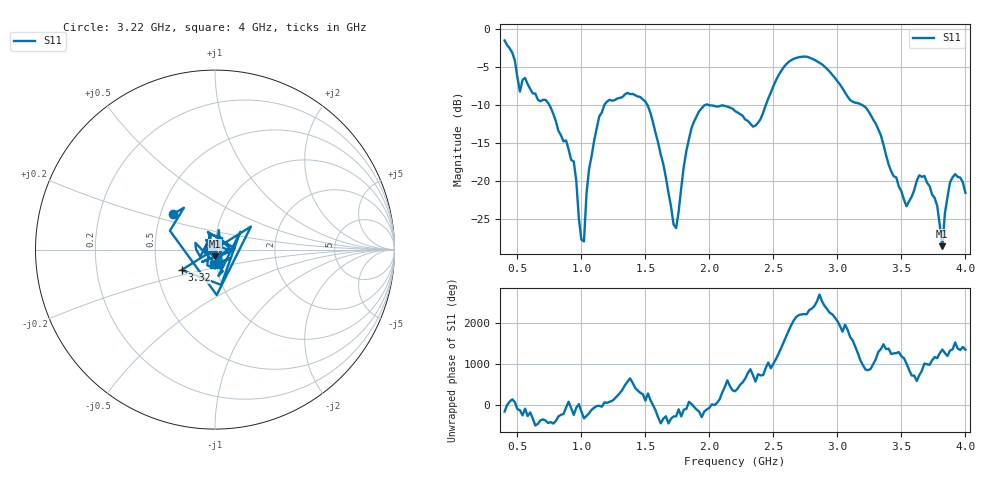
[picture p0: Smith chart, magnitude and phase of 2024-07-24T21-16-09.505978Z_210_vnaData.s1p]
!Created with skrf (http://scikit-rf.org).
# Hz S RI R 50.0
!freq ReS11 ImS11
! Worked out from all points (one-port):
!   181 points, 400 MHz to 4 GHz, reference 50 ohm
!   lowest |S11| = -28.7 dB at 3.82 GHz (marker M1), VSWR 1.08, Z = 49.7 - j3.68 ohm
!   |S11| at or under -10 dB: 1.515 GHz to 1.965 GHz (449.2 MHz wide, 25.8 % of centre); 1.995 GHz to 2.44 GHz (445.4 MHz wide, 20.1 % of centre); 3.193 GHz to end of sweep (the widest 3 of 4)
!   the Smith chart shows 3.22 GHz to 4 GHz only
!   S11 on the Smith chart (normalised r, x): 3.22 GHz: 0.58, +0.26; 3.32 GHz: 0.67, -0.16; 4 GHz: 0.97, -0.16
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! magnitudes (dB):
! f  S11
! 400 MHz  -1.5
! 520 MHz  -8.2
! 560 MHz  -6.4
! 720 MHz  -9.3
! 860 MHz  -14.8
! 940 MHz  -17.4
! 1 GHz  -27.8
! 1.02 GHz  -28.0
! 1.06 GHz  -18.4
! 1.14 GHz  -11.5
! 1.3 GHz  -9.1
! 1.52 GHz  -10.1
! 1.72 GHz  -25.8
! 1.76 GHz  -24.0
! 1.82 GHz  -16.1
! 1.92 GHz  -10.8
! 2.2 GHz  -10.8
! 2.36 GHz  -12.7
! 2.66 GHz  -3.9
! 3.1 GHz  -9.4
! 3.22 GHz  -10.3
! 3.32 GHz  -13.2
! 3.56 GHz  -22.7
! 3.68 GHz  -19.4
! 3.78 GHz  -23.3
! 3.82 GHz  -28.7
! 3.88 GHz  -20.2
! 4 GHz  -21.6
